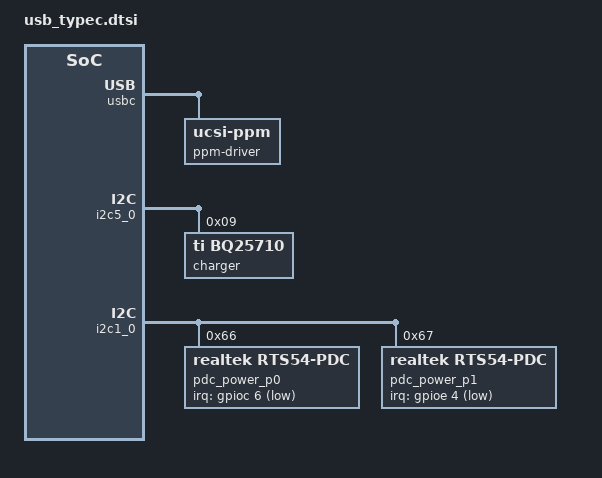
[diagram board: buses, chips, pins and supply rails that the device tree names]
/* Copyright 2026 The ChromiumOS Authors
 * Use of this source code is governed by a BSD-style license that can be
 * found in the LICENSE file.
 */

#include <usbc-policy.dtsi>

/ {
	usbc {
		#address-cells = <1>;
		#size-cells = <0>;

		usbc_port0: port0@0 {
			compatible = "named-usbc-port";
			reg = <0>;
			chg = <&charger>;
			pdc = <&pdc_power_p0>;
			pd-retimer;
			policy = <&cros_policy>;
		};
		usbc_port1: port1@1 {
			compatible = "named-usbc-port";
			reg = <1>;
			pdc = <&pdc_power_p1>;
			pd-retimer;
			policy = <&cros_policy>;
		};
		ppm-driver {
			compatible = "ucsi-ppm";
		};
	};
};

&i2c5_0 {
	charger: bq25720@9 {
		compatible = "ti,bq25710";
		status = "okay";
		reg = <0x9>;
	};
};

&i2c1_0 {
	pdc_power_p0: rts54-pdc@66 {
		compatible = "realtek,rts54-pdc";
		reg = <0x66>;
		irq-gpios = <&gpioc 6 GPIO_ACTIVE_LOW>;
		ccd;
	};
	pdc_power_p1: rts54-pdc@67 {
		compatible = "realtek,rts54-pdc";
		reg = <0x67>;
		irq-gpios = <&gpioe 4 GPIO_ACTIVE_LOW>;
	};
};
